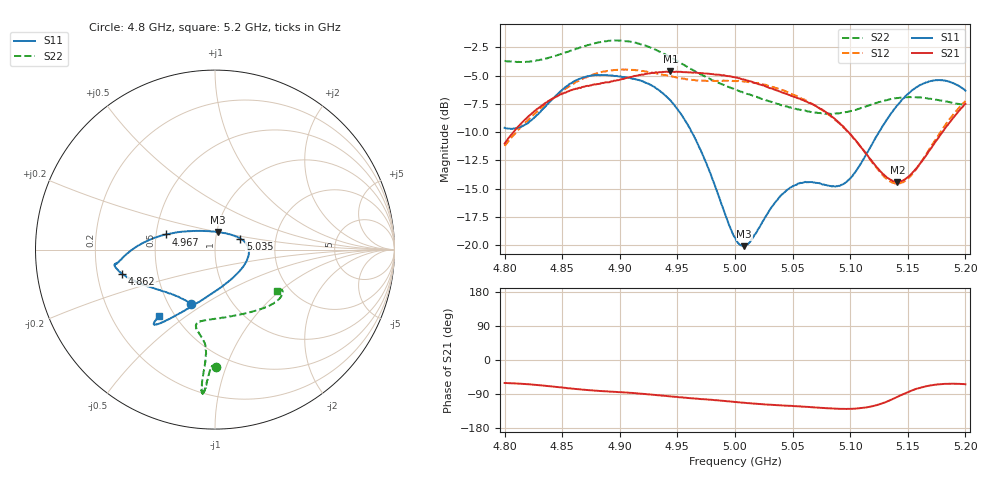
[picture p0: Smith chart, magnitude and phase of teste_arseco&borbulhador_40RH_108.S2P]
! Network Analyzer HP8722D
! Hewlett-Packard
! Data name: Linha & Wilkinson
! Saver's name: Rodrigo Anjos
! Comments: Teste da utilização de aquisição
! continua pelo VNA HP8722D
! Time and date: 15/4/2025 17:15
!  Frequency  S11  S21  S12  S22
# HZ  S  MA R 50
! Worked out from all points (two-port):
!   401 points, 4.8 GHz to 5.2 GHz, reference 50 ohm
!   highest |S21| = -4.63 dB at 4.944 GHz (marker M1); lowest = -14.4 dB at 5.141 GHz (marker M2)
!   |S21| within 3 dB of the highest: 4.833 GHz to 5.069 GHz (236.8 MHz wide, 4.78 % of centre); 5.198632 GHz to end of sweep
!   lowest |S11| = -20.1 dB at 5.008 GHz (marker M3), VSWR 1.22, Z = 50.6 + j9.97 ohm
!   |S11| at or under -10 dB: 4.962 GHz to 5.125 GHz (162.6 MHz wide, 3.22 % of centre)
!   |S22| runs from -8.4 to -1.9 dB; largest |S21 - S12| = 0.88
!   S11 on the Smith chart (normalised r, x): 4.8 GHz: 0.65, -0.44; 4.862 GHz: 0.31, -0.12; 4.967 GHz: 0.57, +0.10; 5.035 GHz: 1.32, +0.17; 5.2 GHz: 0.41, -0.40
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4.8e9  0.3306 -113.6  0.2812 -60.6  0.2746 -175.1  0.6541 -89.4
4.819e9  0.3439 -133.4  0.3641 -63.7  0.3528 -173.1  0.6482 -91.1
4.862e9  0.5361 -165.5  0.4928 -76.5  0.5281 -176.2  0.7404 -93.4
4.867e9  0.5491 -167.4  0.5001 -78.0  0.5413 -177.3  0.7537 -93.6
4.899e9  0.5584 -171.9  0.5372 -84.8  0.5965 175.9  0.8034 -95.0
4.934e9  0.4853 -177.8  0.582 -93.3  0.5747 172.1  0.7194 -95.5
4.944e9  0.4369 177.7  0.5867 -96.1  0.5586 172.0  0.6793 -95.3
4.967e9  0.285 162.7  0.5796 -102.0  0.5349 174.1  0.5815 -94.9
5e9  0.1078 107.5  0.5533 -110.9  0.5322 176.5  0.4877 -99.3
5.008e9  0.09882 80.7  0.5398 -112.9  0.5287 176.5  0.4719 -101.0
5.014e9  0.105 62.0  0.5305 -114.5  0.5278 176.4  0.4613 -102.5
5.035e9  0.1547 23.4  0.4865 -118.8  0.4963 175.3  0.4238 -103.9
5.05e9  0.182 7.3  0.4557 -121.5  0.4649 174.6  0.4046 -100.4
5.067e9  0.1899 -10.9  0.4211 -124.6  0.4221 174.1  0.3871 -92.0
5.086e9  0.1821 -41.4  0.3642 -128.2  0.361 173.9  0.3808 -77.7
5.097e9  0.1906 -64.6  0.3217 -129.2  0.3203 174.6  0.388 -68.6
5.134e9  0.3726 -115.9  0.1959 -107.1  0.1921 -159.8  0.4416 -43.3
5.141e9  0.4159 -119.8  0.1902 -97.2  0.1874 -148.9  0.4474 -40.2
5.153e9  0.4811 -124.7  0.2062 -81.0  0.2035 -130.1  0.4516 -35.9
5.17e9  0.5324 -128.4  0.2669 -66.9  0.2715 -113.0  0.4443 -32.0
5.184e9  0.5321 -129.7  0.3375 -63.0  0.3483 -107.1  0.4319 -31.0
5.2e9  0.4825 -130.1  0.4218 -64.0  0.4338 -105.9  0.4158 -33.3
